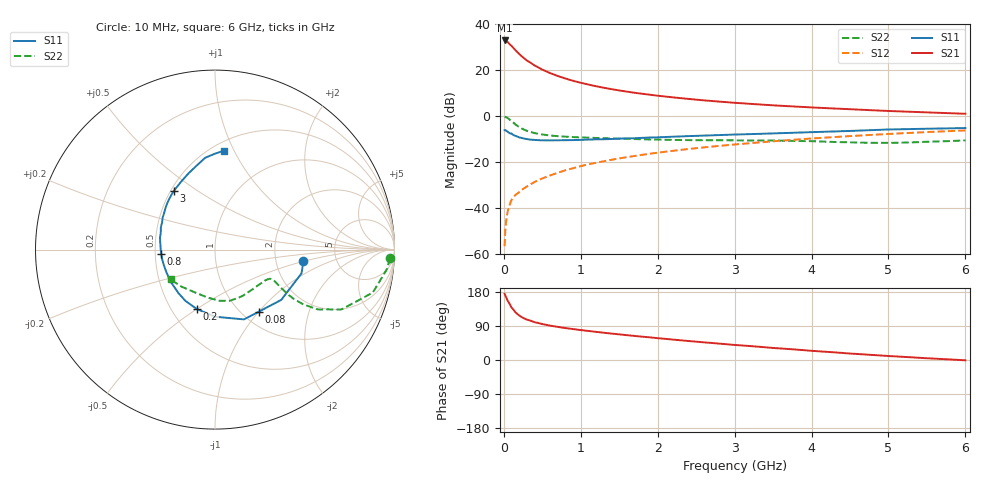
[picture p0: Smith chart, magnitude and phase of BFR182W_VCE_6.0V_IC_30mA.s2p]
! Infineon Technologies  Discrete & RF Semiconductors
! BFR182W
! VCE =  6.0 V,  IC =  30 mA
! Common Emitter S-Parameters:  Jan 2017
# GHz  S  MA  R  50
!  f  S11  S21  S12  S22
! GHz  MAG  ANG  MAG  ANG  MAG  ANG  MAG  ANG
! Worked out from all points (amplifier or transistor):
!   77 points, 10 MHz to 6 GHz, reference 50 ohm
!   highest |S21| = 32.9 dB at 10 MHz (marker M1)
!   |S21| within 3 dB of that: start of sweep to 117.4 MHz
!   unconditionally stable (mu >= 1): 665.8 MHz to 2.223 GHz
!   at 130 MHz: K = 0.50, MSG = 32.2 dB, |S12| = -35.0 dB
!   at 2.2 GHz: K = 1.00, MAG = 11.4 dB, |S12| = -15.0 dB
!   at 6 GHz: K = 0.86, MSG = 3.6 dB, |S12| = -6.2 dB
!   S11 on the Smith chart (normalised r, x): 10 MHz: 2.88, -0.50; 80 MHz: 1.19, -1.00; 200 MHz: 0.67, -0.50; 800 MHz: 0.54, -0.03; 3 GHz: 0.52, +0.40; 6 GHz: 0.57, +0.91
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0.01  0.497 -7.5  44.12 174.4  0.0015 91.1  0.9758 -2.8
0.02  0.4997 -15.4  43.91 169.9  0.0036 96.3  0.9655 -6.3
0.05  0.4634 -37.2  40.7 156.2  0.0085 78.3  0.9116 -15.2
0.08  0.4233 -54.7  36.01 146.3  0.0124 72.8  0.8293 -20.9
0.1  0.4211 -67.4  33.61 138.3  0.0151 70.7  0.7798 -25.3
0.15  0.3741 -90.0  27.22 125.9  0.0194 67.4  0.6623 -30.2
0.2  0.3464 -106.8  22.39 117.4  0.0224 68.1  0.5804 -31.8
0.25  0.3301 -119.8  18.86 111.0  0.0262 66.4  0.5221 -32.1
0.3  0.3168 -130.0  16.16 106.5  0.0297 66.5  0.4795 -31.6
0.4  0.3049 -144.5  12.59 99.7  0.0372 69.3  0.4286 -30.2
0.5  0.2987 -154.9  10.24 94.8  0.0444 70.2  0.3995 -29.0
0.6  0.2979 -163.2  8.645 90.8  0.0515 70.9  0.3807 -28.1
0.7  0.2994 -169.9  7.464 87.4  0.0587 72.3  0.3676 -27.5
0.8  0.3005 -175.3  6.578 84.3  0.0669 73.1  0.3588 -27.4
1.1  0.3095 171.1  4.854 76.6  0.09 73.0  0.3413 -28.8
1.5  0.325 158.3  3.619 67.7  0.1208 71.6  0.3245 -33.1
2.1  0.3522 143.0  2.669 55.8  0.1689 68.1  0.3071 -43.5
3  0.3992 125.3  1.953 39.7  0.2422 61.5  0.2987 -63.4
3.1  0.4031 123.5  1.904 38.3  0.2505 60.6  0.2975 -65.5
4.1  0.455 107.7  1.521 22.9  0.3354 51.8  0.2821 -87.4
5.1  0.5175 95.0  1.278 9.4  0.4187 42.2  0.2644 -118.6
6  0.5526 85.0  1.128 -0.8  0.4897 32.8  0.2983 -146.1
